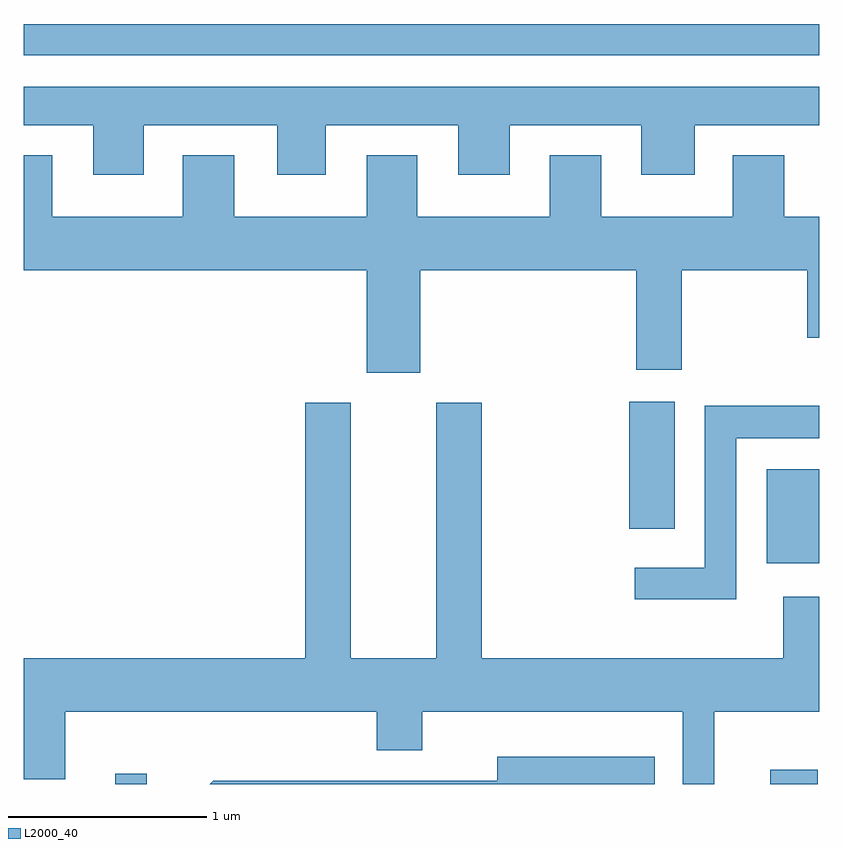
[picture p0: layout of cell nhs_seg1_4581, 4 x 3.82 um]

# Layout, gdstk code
import gdstk
lib = gdstk.Library(unit=1e-6, precision=1e-09)
def R(c, l, rs):  # rectangles x0, y0, x1, y1
    for r in rs: c.add(gdstk.rectangle(r[:2], r[2:], *l))
def P(c, l, *ps):  # polygons
    for p in ps: c.add(gdstk.Polygon(p, *l))
L2000_40 = (2000, 40)

nhs_seg1_4581 = lib.new_cell('nhs_seg1_4581')
R(nhs_seg1_4581, L2000_40, [(324.071,843.712,324.229,843.763), (327.366,843.712,327.604,843.784), (327.346,844.821,327.611,845.294), (326.656,844.996,326.884,845.634), (323.611,847.376,327.611,847.534)])
P(nhs_seg1_4581, L2000_40, [(324.214,847.026),(324.886,847.026),(324.886,846.776),(325.129,846.776),(325.129,847.026),(325.796,847.026),(325.796,846.776),(326.054,846.776),(326.054,847.026),(326.716,847.026),(326.716,846.776),(326.984,846.776),(326.984,847.026),(327.611,847.026),(327.611,847.219),(323.611,847.219),(323.611,847.026),(323.961,847.026),(323.961,846.776),(324.214,846.776)],
  [(325.604,846.296),(326.691,846.296),(326.691,845.796),(326.919,845.796),(326.919,846.296),(327.551,846.296),(327.551,845.956),(327.611,845.956),(327.611,846.564),(327.434,846.564),(327.434,846.874),(327.176,846.874),(327.176,846.564),(326.514,846.564),(326.514,846.874),(326.256,846.874),(326.256,846.564),(325.589,846.564),(325.589,846.874),(325.336,846.874),(325.336,846.564),(324.669,846.564),(324.669,846.874),(324.411,846.874),(324.411,846.564),(323.754,846.564),(323.754,846.874),(323.611,846.874),(323.611,846.296),(325.336,846.296),(325.336,845.781),(325.604,845.781)],
  [(327.084,844.076),(327.611,844.076),(327.611,844.654),(327.431,844.654),(327.431,844.344),(325.914,844.344),(325.914,845.629),(325.686,845.629),(325.686,844.344),(325.254,844.344),(325.254,845.629),(325.026,845.629),(325.026,844.344),(323.611,844.344),(323.611,843.736),(323.819,843.736),(323.819,844.076),(325.386,844.076),(325.386,843.881),(325.614,843.881),(325.614,844.076),(326.926,844.076),(326.926,843.712),(327.084,843.712)],
  [(327.194,845.451),(327.611,845.451),(327.611,845.614),(327.036,845.614),(327.036,844.799),(326.683,844.799),(326.683,844.641),(327.194,844.641)],
  [(326.783,843.849),(325.991,843.849),(325.991,843.729),(324.564,843.729),(324.547,843.712),(326.783,843.712)])

lib.write_gds('nhs_seg1_4581.gds')
